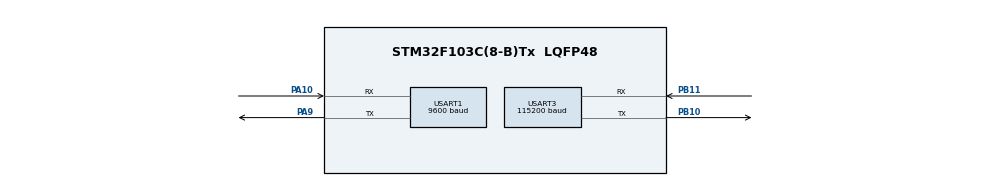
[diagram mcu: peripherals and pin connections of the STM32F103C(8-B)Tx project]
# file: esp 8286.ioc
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Mcu.Family=STM32F1
Mcu.Name=STM32F103C(8-B)Tx
Mcu.Package=LQFP48
NVIC.PriorityGroup=NVIC_PRIORITYGROUP_4
PA10.Mode=Asynchronous
PA10.Signal=USART1_RX
PA13.Mode=Serial_Wire
PA13.Signal=SYS_JTMS-SWDIO
PA14.Mode=Serial_Wire
PA14.Signal=SYS_JTCK-SWCLK
PA9.Mode=Asynchronous
PA9.Signal=USART1_TX
PB10.Mode=Asynchronous
PB10.Signal=USART3_TX
PB11.Mode=Asynchronous
PB11.Signal=USART3_RX
PC14-OSC32_IN.Mode=LSE-External-Oscillator
PC14-OSC32_IN.Signal=RCC_OSC32_IN
PC15-OSC32_OUT.Mode=LSE-External-Oscillator
PC15-OSC32_OUT.Signal=RCC_OSC32_OUT
PD0-OSC_IN.Mode=HSE-External-Oscillator
PD0-OSC_IN.Signal=RCC_OSC_IN
PD1-OSC_OUT.Mode=HSE-External-Oscillator
PD1-OSC_OUT.Signal=RCC_OSC_OUT
ProjectManager.HeapSize=0x200
ProjectManager.StackSize=0x400
ProjectManager.TargetToolchain=STM32CubeIDE
RCC.APB1Freq_Value=8000000
RCC.APB2Freq_Value=8000000
USART1.BaudRate=9600
USART1.VirtualMode=VM_ASYNC
USART3.BaudRate=115200
USART3.VirtualMode=VM_ASYNC
board=custom

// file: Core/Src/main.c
/* USER CODE BEGIN Header */
/**
  ******************************************************************************
  * @file           : main.c
  * @brief          : Main program body
  ******************************************************************************
  * @attention
  *
  * Copyright (c) 2023 STMicroelectronics.
  * All rights reserved.
  *
  * This software is licensed under terms that can be found in the LICENSE file
  * in the root directory of this software component.
  * If no LICENSE file comes with this software, it is provided AS-IS.
  *
  ******************************************************************************
  */
/* USER CODE END Header */
#include "main.h"
#include "usart.h"
#include "gpio.h"

/* USER CODE BEGIN Includes */
#include <stdio.h>
#include <string.h>
/* USER CODE END Includes */

/* USER CODE BEGIN PTD */
uint32_t buf[100] = {0};
char msg[30];
char cmd[50];
char *webdata;
/* USER CODE END PTD */

void SystemClock_Config(void);

int main(void)
{

  /* MCU Configuration--------------------------------------------------------*/

  /* Reset of all peripherals, Initializes the Flash interface and the Systick. */
  HAL_Init();

  /* Configure the system clock */
  SystemClock_Config();

  /* Initialize all configured peripherals */
  MX_GPIO_Init();
  MX_USART3_UART_Init();
  MX_USART1_UART_Init();
  /* USER CODE BEGIN 2 */
  sprintf(cmd,"AT\r\n"); //Data to send
  HAL_UART_Transmit(&huart3,(uint8_t *)cmd,sizeof(cmd),1000);//Sends AT command with time(Command for Achknowledgement)
  HAL_UART_Receive (&huart3,(uint8_t *)buf,sizeof(buf),1000);
  HAL_UART_Transmit(&huart1,(uint8_t *)cmd,sizeof(cmd),1000);
  HAL_UART_Transmit(&huart1,(uint8_t *)buf,sizeof(buf),1000);
  memset(buf,0,sizeof(buf));

  sprintf(cmd,"AT+CWMODE=3\r\n"); //Data to send
  HAL_UART_Transmit(&huart3,(uint8_t *)cmd,sizeof(cmd),1000);//Sends AT command with time (For setting mode of Wifi)
  HAL_UART_Receive (&huart3,(uint8_t *)buf,sizeof(buf),1000);
  HAL_UART_Transmit(&huart1,(uint8_t *)cmd,sizeof(cmd),1000);
  HAL_UART_Transmit(&huart1,(uint8_t *)buf,sizeof(buf),1000);
  memset(buf,0,sizeof(buf));

  sprintf(cmd,"AT+CWQAP\r\n"); //Data to send
  HAL_UART_Transmit(&huart3,(uint8_t *)cmd,sizeof(cmd),1000);           //Sends AT command with time (for Quit AP)
  HAL_UART_Receive (&huart3,(uint8_t *)buf,sizeof(buf),1000);
  HAL_UART_Transmit(&huart1,(uint8_t *)cmd,sizeof(cmd),1000);
  HAL_UART_Transmit(&huart1,(uint8_t *)buf,sizeof(buf),1000);
  memset(buf,0,sizeof(buf));

  sprintf(cmd,"AT+RST\r\n"); //Data to send
  HAL_UART_Transmit(&huart3,(uint8_t *)cmd,sizeof(cmd),10000);//Sends AT command with time (For RESETTING WIFI)
  HAL_UART_Receive (&huart3,(uint8_t *)buf,sizeof(buf),10000);
  HAL_UART_Transmit(&huart1,(uint8_t *)cmd,sizeof(cmd),5000);
  HAL_UART_Transmit(&huart1,(uint8_t *)buf,sizeof(buf),5000);
  memset(buf,0,sizeof(buf));

  sprintf(cmd,"AT+CWJAP=\"Fedha Electrics Limited\",\"Fedha@2023\"\r\n"); //Data to send
  HAL_UART_Transmit(&huart3,(uint8_t *)cmd,sizeof(cmd),10000);//provide your WiFi username and password here
  HAL_UART_Receive (&huart3,(uint8_t *)buf,sizeof(buf),10000);
  HAL_UART_Transmit(&huart1,(uint8_t *)cmd,sizeof(cmd),5000);
  HAL_UART_Transmit(&huart1,(uint8_t *)buf,sizeof(buf),5000);
  memset(buf,0,sizeof(buf));

  sprintf(cmd,"AT+CIPMUX=0\r\n"); //Data to send
  HAL_UART_Transmit(&huart3,(uint8_t *)cmd,sizeof(cmd),200);           //Sends AT command with time (for Quit AP)
  HAL_UART_Receive (&huart3,(uint8_t *)buf, sizeof(buf),200);
  HAL_UART_Transmit(&huart1,(uint8_t *)cmd,sizeof(cmd),1000);
  HAL_UART_Transmit(&huart1,(uint8_t *)buf,sizeof(buf),1000);
  memset(buf,0,sizeof(buf));

//  sprintf(cmd,"AT+CIPSTART=\"TCP\",\"172.105.56.254\",7075\r\n"); //Data to send
  sprintf(cmd,"AT+CIPSTART=\"TCP\",\"192.168.1.5\",7075\r\n");
  HAL_UART_Transmit(&huart3,(uint8_t *)cmd,sizeof(cmd),15000);           //Sends AT command with time (for Quit AP)
  HAL_UART_Receive (&huart3,(uint8_t *)buf, sizeof(buf),15000);
  HAL_UART_Transmit(&huart1,(uint8_t *)cmd,sizeof(cmd),5000);
  HAL_UART_Transmit(&huart1,(uint8_t *)buf,sizeof(buf),5000);
  memset(buf,0,sizeof(buf));

  webdata = "LEMONbsee141jAndycoding123456" ;

  sprintf(cmd,"AT+CIPSEND=29\r\n"); //Data to send
  HAL_UART_Transmit(&huart3,(uint8_t *)cmd,sizeof(cmd),5000);           //Sends AT command with time (for Quit AP)
  HAL_UART_Receive (&huart3,(uint8_t *)buf, sizeof(buf),5000);
  HAL_UART_Transmit(&huart1,(uint8_t *)cmd,sizeof(cmd),3000);
  HAL_UART_Transmit(&huart1,(uint8_t *)buf,sizeof(buf),3000);
  memset(buf,0,sizeof(buf));

  sprintf(cmd,"%s\r\n", webdata);
  HAL_UART_Transmit(&huart3,(uint8_t *)cmd,sizeof(cmd),10000);//Sends AT command with time (For RESETTING WIFI)
  HAL_UART_Receive (&huart3,(uint8_t *)buf, sizeof(buf),10000);
  HAL_UART_Transmit(&huart1,(uint8_t *)cmd,sizeof(cmd),5000);
  HAL_UART_Transmit(&huart1,(uint8_t *)buf,sizeof(buf),5000);
  memset(buf,0,sizeof(buf));

  /* USER CODE END 2 */

  /* Infinite loop */
  while (1)
  {

  }
}

void SystemClock_Config(void)
{
  LL_FLASH_SetLatency(LL_FLASH_LATENCY_0);
  while(LL_FLASH_GetLatency()!= LL_FLASH_LATENCY_0)
  {
  }
  LL_RCC_HSI_SetCalibTrimming(16);
  LL_RCC_HSI_Enable();

   /* Wait till HSI is ready */
  while(LL_RCC_HSI_IsReady() != 1)
  {

  }
  LL_RCC_SetAHBPrescaler(LL_RCC_SYSCLK_DIV_1);
  LL_RCC_SetAPB1Prescaler(LL_RCC_APB1_DIV_1);
  LL_RCC_SetAPB2Prescaler(LL_RCC_APB2_DIV_1);
  LL_RCC_SetSysClkSource(LL_RCC_SYS_CLKSOURCE_HSI);

   /* Wait till System clock is ready */
  while(LL_RCC_GetSysClkSource() != LL_RCC_SYS_CLKSOURCE_STATUS_HSI)
  {

  }
  LL_SetSystemCoreClock(8000000);

   /* Update the time base */
  if (HAL_InitTick (TICK_INT_PRIORITY) != HAL_OK)
  {
    Error_Handler();
  }
}

void Error_Handler(void)
{
  __disable_irq();
  while (1)
  {
  }
}
